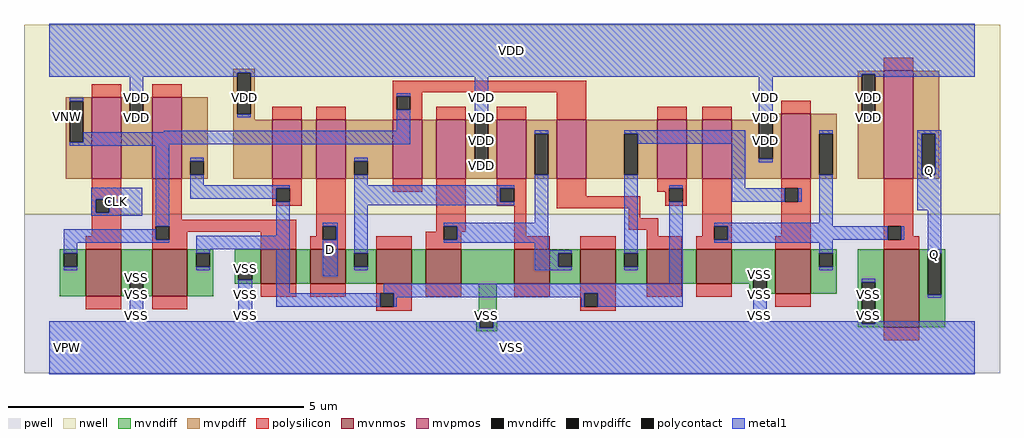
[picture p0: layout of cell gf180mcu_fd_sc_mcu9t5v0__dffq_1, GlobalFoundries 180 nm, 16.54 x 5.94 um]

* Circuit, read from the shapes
.subckt gf180mcu_fd_sc_mcu9t5v0__dffq_1 D CLK Q VDD VNW VPW VSS
XM1 VSS CLK n1 VPW nfet_06v0 w=0.79u l=0.6u
XM2 n2 n1 VSS VPW nfet_06v0 w=0.79u l=0.6u
XM3 n3 n1 VSS VPW nfet_06v0 w=0.58u l=0.6u
XM4 n4 D n3 VPW nfet_06v0 w=0.58u l=0.6u
XM5 n5 n2 n4 VPW nfet_06v0 w=0.58u l=0.6u
XM6 VSS n6 n5 VPW nfet_06v0 w=0.58u l=0.6u
XM7 n6 n4 VSS VPW nfet_06v0 w=0.58u l=0.6u
XM8 n7 n2 n6 VPW nfet_06v0 w=0.58u l=0.6u
XM9 n8 n1 n7 VPW nfet_06v0 w=0.58u l=0.6u
XM10 VSS n9 n8 VPW nfet_06v0 w=0.58u l=0.6u
XM11 n9 n7 VSS VPW nfet_06v0 w=0.75u l=0.6u
XM12 Q n9 VSS VPW nfet_06v0 w=1.32u l=0.6u
XM13 VDD CLK n1 VNW pfet_06v0 w=1.38u l=0.5u
XM14 n2 n1 VDD VNW pfet_06v0 w=1.38u l=0.5u
XM15 n10 n2 VDD VNW pfet_06v0 w=1u l=0.5u
XM16 n4 D n10 VNW pfet_06v0 w=1u l=0.5u
XM17 n11 n1 n4 VNW pfet_06v0 w=1u l=0.5u
XM18 VDD n6 n11 VNW pfet_06v0 w=1u l=0.5u
XM19 n6 n4 VDD VNW pfet_06v0 w=1u l=0.5u
XM20 n7 n1 n6 VNW pfet_06v0 w=1u l=0.5u
XM21 n12 n2 n7 VNW pfet_06v0 w=1u l=0.5u
XM22 VDD n9 n12 VNW pfet_06v0 w=1u l=0.5u
XM23 n9 n7 VDD VNW pfet_06v0 w=1.1u l=0.5u
XM24 Q n9 VDD VNW pfet_06v0 w=1.83u l=0.5u
.ends

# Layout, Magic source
magic
tech gf180mcuD
magscale 1 10
<< nwell >>
rect -86 453 3222 1094
<< pwell >>
rect -86 -86 3222 453
<< mvnmos >>
rect 124 175 244 333
rect 348 175 468 333
rect 716 217 836 333
rect 884 217 1004 333
rect 1108 217 1228 333
rect 1276 217 1396 333
rect 1576 217 1696 333
rect 1800 217 1920 333
rect 2024 217 2144 333
rect 2192 217 2312 333
rect 2460 183 2580 333
rect 2828 69 2948 333
<< mvpmos >>
rect 144 573 244 849
rect 348 573 448 849
rect 756 573 856 773
rect 904 573 1004 773
rect 1164 573 1264 773
rect 1312 573 1412 773
rect 1516 573 1616 773
rect 1720 573 1820 773
rect 2060 573 2160 773
rect 2212 573 2312 773
rect 2480 573 2580 793
rect 2828 573 2928 939
<< mvndiff >>
rect 36 320 124 333
rect 36 274 49 320
rect 95 274 124 320
rect 36 175 124 274
rect 244 234 348 333
rect 244 188 273 234
rect 319 188 348 234
rect 244 175 348 188
rect 468 320 556 333
rect 468 274 497 320
rect 543 274 556 320
rect 468 175 556 274
rect 628 276 716 333
rect 628 230 641 276
rect 687 230 716 276
rect 628 217 716 230
rect 836 217 884 333
rect 1004 320 1108 333
rect 1004 274 1033 320
rect 1079 274 1108 320
rect 1004 217 1108 274
rect 1228 217 1276 333
rect 1396 217 1576 333
rect 1696 320 1800 333
rect 1696 274 1725 320
rect 1771 274 1800 320
rect 1696 217 1800 274
rect 1920 320 2024 333
rect 1920 274 1949 320
rect 1995 274 2024 320
rect 1920 217 2024 274
rect 2144 217 2192 333
rect 2312 242 2460 333
rect 2312 217 2385 242
rect 1456 127 1516 217
rect 1446 121 1516 127
rect 2372 196 2385 217
rect 2431 196 2460 242
rect 2372 183 2460 196
rect 2580 320 2668 333
rect 2580 274 2609 320
rect 2655 274 2668 320
rect 2580 183 2668 274
rect 2740 222 2828 333
rect 1446 114 1518 121
rect 1446 68 1459 114
rect 1505 68 1518 114
rect 2740 82 2753 222
rect 2799 82 2828 222
rect 2740 69 2828 82
rect 2948 320 3036 333
rect 2948 180 2977 320
rect 3023 180 3036 320
rect 2948 69 3036 180
rect 1446 55 1518 68
<< mvpdiff >>
rect 624 932 696 945
rect 56 836 144 849
rect 56 696 69 836
rect 115 696 144 836
rect 56 573 144 696
rect 244 836 348 849
rect 244 790 273 836
rect 319 790 348 836
rect 244 573 348 790
rect 448 632 536 849
rect 448 586 477 632
rect 523 586 536 632
rect 448 573 536 586
rect 624 792 637 932
rect 683 792 696 932
rect 2740 926 2828 939
rect 624 773 696 792
rect 2392 780 2480 793
rect 2392 773 2405 780
rect 624 573 756 773
rect 856 573 904 773
rect 1004 632 1164 773
rect 1004 586 1033 632
rect 1079 586 1164 632
rect 1004 573 1164 586
rect 1264 573 1312 773
rect 1412 760 1516 773
rect 1412 620 1441 760
rect 1487 620 1516 760
rect 1412 573 1516 620
rect 1616 726 1720 773
rect 1616 586 1645 726
rect 1691 586 1720 726
rect 1616 573 1720 586
rect 1820 726 2060 773
rect 1820 586 1949 726
rect 1995 586 2060 726
rect 1820 573 2060 586
rect 2160 573 2212 773
rect 2312 640 2405 773
rect 2451 640 2480 780
rect 2312 573 2480 640
rect 2580 726 2668 793
rect 2580 586 2609 726
rect 2655 586 2668 726
rect 2580 573 2668 586
rect 2740 786 2753 926
rect 2799 786 2828 926
rect 2740 573 2828 786
rect 2928 726 3016 939
rect 2928 586 2957 726
rect 3003 586 3016 726
rect 2928 573 3016 586
<< mvndiffc >>
rect 49 274 95 320
rect 273 188 319 234
rect 497 274 543 320
rect 641 230 687 276
rect 1033 274 1079 320
rect 1725 274 1771 320
rect 1949 274 1995 320
rect 2385 196 2431 242
rect 2609 274 2655 320
rect 1459 68 1505 114
rect 2753 82 2799 222
rect 2977 180 3023 320
<< mvpdiffc >>
rect 69 696 115 836
rect 273 790 319 836
rect 477 586 523 632
rect 637 792 683 932
rect 1033 586 1079 632
rect 1441 620 1487 760
rect 1645 586 1691 726
rect 1949 586 1995 726
rect 2405 640 2451 780
rect 2609 586 2655 726
rect 2753 786 2799 926
rect 2957 586 3003 726
<< polysilicon >>
rect 2828 939 2928 983
rect 144 849 244 893
rect 348 849 448 893
rect 1164 865 1820 905
rect 1164 852 1264 865
rect 756 773 856 817
rect 904 773 1004 817
rect 1164 806 1177 852
rect 1223 806 1264 852
rect 1164 773 1264 806
rect 1312 773 1412 817
rect 1516 773 1616 817
rect 1720 773 1820 865
rect 2060 773 2160 817
rect 2212 773 2312 817
rect 2480 793 2580 837
rect 144 504 244 573
rect 144 458 157 504
rect 203 458 244 504
rect 144 377 244 458
rect 124 333 244 377
rect 348 433 448 573
rect 756 540 856 573
rect 756 494 769 540
rect 815 494 856 540
rect 756 481 856 494
rect 348 412 836 433
rect 348 366 361 412
rect 407 393 836 412
rect 407 366 468 393
rect 348 333 468 366
rect 716 333 836 393
rect 904 412 1004 573
rect 1164 529 1264 573
rect 904 377 926 412
rect 884 366 926 377
rect 972 366 1004 412
rect 1312 412 1412 573
rect 1516 540 1616 573
rect 1516 494 1529 540
rect 1575 494 1616 540
rect 1516 481 1616 494
rect 1312 393 1337 412
rect 884 333 1004 366
rect 1108 333 1228 377
rect 1276 366 1337 393
rect 1383 393 1412 412
rect 1383 366 1396 393
rect 1276 333 1396 366
rect 1576 377 1616 481
rect 1720 513 1820 573
rect 2060 540 2160 573
rect 2060 529 2101 540
rect 1720 473 2003 513
rect 2088 494 2101 529
rect 2147 494 2160 540
rect 2088 481 2160 494
rect 1963 439 2003 473
rect 1963 399 2064 439
rect 2024 377 2064 399
rect 2212 412 2312 573
rect 2212 377 2253 412
rect 1576 333 1696 377
rect 1800 333 1920 377
rect 2024 333 2144 377
rect 2192 366 2253 377
rect 2299 366 2312 412
rect 2480 540 2580 573
rect 2480 494 2493 540
rect 2539 494 2580 540
rect 2480 377 2580 494
rect 2192 333 2312 366
rect 2460 333 2580 377
rect 2828 412 2928 573
rect 2828 366 2841 412
rect 2887 377 2928 412
rect 2887 366 2948 377
rect 2828 333 2948 366
rect 124 131 244 175
rect 348 131 468 175
rect 716 173 836 217
rect 884 173 1004 217
rect 1108 184 1228 217
rect 1108 138 1121 184
rect 1167 138 1228 184
rect 1276 173 1396 217
rect 1108 125 1228 138
rect 1576 173 1696 217
rect 1800 184 1920 217
rect 1800 138 1813 184
rect 1859 138 1920 184
rect 2024 173 2144 217
rect 2192 173 2312 217
rect 2460 139 2580 183
rect 1800 125 1920 138
rect 2828 25 2948 69
<< polycontact >>
rect 1177 806 1223 852
rect 157 458 203 504
rect 769 494 815 540
rect 361 366 407 412
rect 926 366 972 412
rect 1529 494 1575 540
rect 1337 366 1383 412
rect 2101 494 2147 540
rect 2253 366 2299 412
rect 2493 494 2539 540
rect 2841 366 2887 412
rect 1121 138 1167 184
rect 1813 138 1859 184
<< metal1 >>
rect 0 932 3136 1098
rect 0 918 637 932
rect 69 836 115 847
rect 273 836 319 918
rect 273 779 319 790
rect 683 926 3136 932
rect 683 918 2753 926
rect 637 781 683 792
rect 1177 852 1223 863
rect 1177 735 1223 806
rect 388 731 1223 735
rect 115 696 1223 731
rect 69 689 1223 696
rect 1441 760 1487 918
rect 69 685 407 689
rect 142 504 315 542
rect 142 458 157 504
rect 203 458 315 504
rect 142 447 315 458
rect 361 412 407 685
rect 477 632 523 643
rect 477 551 523 586
rect 1033 632 1079 643
rect 2405 780 2451 918
rect 1441 609 1487 620
rect 1645 726 1691 737
rect 1033 551 1079 586
rect 477 540 815 551
rect 477 505 769 540
rect 49 366 361 401
rect 769 379 815 494
rect 1033 540 1575 551
rect 1033 494 1529 540
rect 1033 483 1575 494
rect 49 355 407 366
rect 49 320 95 355
rect 49 263 95 274
rect 497 333 815 379
rect 497 320 543 333
rect 497 263 543 274
rect 641 276 687 287
rect 273 234 319 245
rect 273 90 319 188
rect 641 90 687 230
rect 769 184 815 333
rect 926 412 978 423
rect 972 366 978 412
rect 926 242 978 366
rect 1033 320 1079 483
rect 1645 423 1691 586
rect 1337 412 1691 423
rect 1383 366 1691 412
rect 1337 355 1691 366
rect 1033 263 1079 274
rect 1645 331 1691 355
rect 1949 726 2359 737
rect 1995 691 2359 726
rect 1645 320 1771 331
rect 1645 274 1725 320
rect 1645 263 1771 274
rect 1949 320 1995 586
rect 1949 263 1995 274
rect 2101 540 2147 551
rect 2313 540 2359 691
rect 2799 918 3136 926
rect 2753 775 2799 786
rect 2405 629 2451 640
rect 2609 726 2655 737
rect 2313 494 2493 540
rect 2539 494 2550 540
rect 2101 217 2147 494
rect 2609 423 2655 586
rect 2942 726 3023 737
rect 2942 586 2957 726
rect 3003 586 3023 726
rect 2942 466 3023 586
rect 2253 412 2655 423
rect 2299 366 2841 412
rect 2887 366 2898 412
rect 2253 355 2655 366
rect 2609 320 2655 355
rect 2609 263 2655 274
rect 2977 320 3023 466
rect 1133 184 2147 217
rect 769 138 1121 184
rect 1167 171 1813 184
rect 1167 138 1178 171
rect 1802 138 1813 171
rect 1859 138 2147 184
rect 2385 242 2431 253
rect 1459 114 1505 125
rect 0 68 1459 90
rect 2385 90 2431 196
rect 2753 222 2799 233
rect 1505 82 2753 90
rect 2977 169 3023 180
rect 2799 82 3136 90
rect 1505 68 3136 82
rect 0 -90 3136 68
<< labels >>
flabel metal1 s 142 447 315 542 0 FreeSans 200 0 0 0 CLK
port 2 nsew clock input
flabel metal1 s 926 242 978 423 0 FreeSans 200 0 0 0 D
port 1 nsew default input
flabel metal1 s 2942 466 3023 737 0 FreeSans 200 0 0 0 Q
port 3 nsew default output
flabel metal1 s 0 918 3136 1098 0 FreeSans 200 0 0 0 VDD
port 4 nsew power bidirectional abutment
flabel metal1 s 641 253 687 287 0 FreeSans 200 0 0 0 VSS
port 7 nsew ground bidirectional abutment
flabel nwell s 10 734 110 834 0 FreeSans 400 0 0 0 VNW
port 5 nsew power bidirectional
flabel pwell s 10 -50 110 50 0 FreeSans 400 0 0 0 VPW
port 6 nsew ground bidirectional
rlabel metal1 s 2977 169 3023 466 1 Q
port 3 nsew default output
rlabel metal1 s 2753 781 2799 918 1 VDD
port 4 nsew power bidirectional abutment
rlabel metal1 s 2405 781 2451 918 1 VDD
port 4 nsew power bidirectional abutment
rlabel metal1 s 1441 781 1487 918 1 VDD
port 4 nsew power bidirectional abutment
rlabel metal1 s 637 781 683 918 1 VDD
port 4 nsew power bidirectional abutment
rlabel metal1 s 273 781 319 918 1 VDD
port 4 nsew power bidirectional abutment
rlabel metal1 s 2753 779 2799 781 1 VDD
port 4 nsew power bidirectional abutment
rlabel metal1 s 2405 779 2451 781 1 VDD
port 4 nsew power bidirectional abutment
rlabel metal1 s 1441 779 1487 781 1 VDD
port 4 nsew power bidirectional abutment
rlabel metal1 s 273 779 319 781 1 VDD
port 4 nsew power bidirectional abutment
rlabel metal1 s 2753 775 2799 779 1 VDD
port 4 nsew power bidirectional abutment
rlabel metal1 s 2405 775 2451 779 1 VDD
port 4 nsew power bidirectional abutment
rlabel metal1 s 1441 775 1487 779 1 VDD
port 4 nsew power bidirectional abutment
rlabel metal1 s 2405 629 2451 775 1 VDD
port 4 nsew power bidirectional abutment
rlabel metal1 s 1441 629 1487 775 1 VDD
port 4 nsew power bidirectional abutment
rlabel metal1 s 1441 609 1487 629 1 VDD
port 4 nsew power bidirectional abutment
rlabel metal1 s 2385 245 2431 253 1 VSS
port 7 nsew ground bidirectional abutment
rlabel metal1 s 641 245 687 253 1 VSS
port 7 nsew ground bidirectional abutment
rlabel metal1 s 2385 233 2431 245 1 VSS
port 7 nsew ground bidirectional abutment
rlabel metal1 s 641 233 687 245 1 VSS
port 7 nsew ground bidirectional abutment
rlabel metal1 s 273 233 319 245 1 VSS
port 7 nsew ground bidirectional abutment
rlabel metal1 s 2753 125 2799 233 1 VSS
port 7 nsew ground bidirectional abutment
rlabel metal1 s 2385 125 2431 233 1 VSS
port 7 nsew ground bidirectional abutment
rlabel metal1 s 641 125 687 233 1 VSS
port 7 nsew ground bidirectional abutment
rlabel metal1 s 273 125 319 233 1 VSS
port 7 nsew ground bidirectional abutment
rlabel metal1 s 2753 90 2799 125 1 VSS
port 7 nsew ground bidirectional abutment
rlabel metal1 s 2385 90 2431 125 1 VSS
port 7 nsew ground bidirectional abutment
rlabel metal1 s 1459 90 1505 125 1 VSS
port 7 nsew ground bidirectional abutment
rlabel metal1 s 641 90 687 125 1 VSS
port 7 nsew ground bidirectional abutment
rlabel metal1 s 273 90 319 125 1 VSS
port 7 nsew ground bidirectional abutment
rlabel metal1 s 0 -90 3136 90 1 VSS
port 7 nsew ground bidirectional abutment
<< properties >>
string FIXED_BBOX 0 0 3136 1008
string GDS_END 587770
string GDS_FILE $PDKPATH/libs.ref/gf180mcu_fd_sc_mcu9t5v0/gds/gf180mcu_fd_sc_mcu9t5v0.gds
string GDS_START 580324
string LEFclass core
string LEFsite GF018hv5v_green_sc9
string LEFsymmetry X Y
<< end >>
